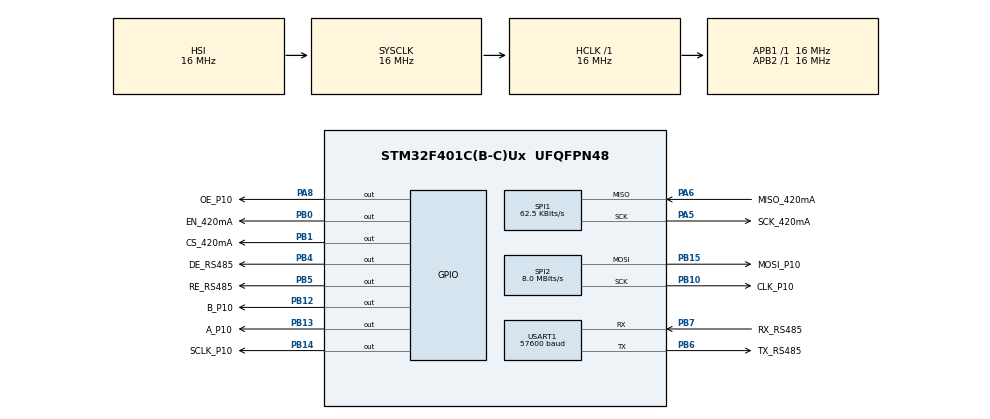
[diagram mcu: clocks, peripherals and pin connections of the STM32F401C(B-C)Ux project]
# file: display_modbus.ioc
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Mcu.Family=STM32F4
Mcu.Name=STM32F401C(B-C)Ux
Mcu.Package=UFQFPN48
NVIC.PriorityGroup=NVIC_PRIORITYGROUP_4
NVIC.TIM3_IRQn=true\:1\:0\:true\:false\:true\:true\:true\:true
NVIC.USART1_IRQn=true\:0\:0\:false\:false\:true\:true\:true\:true
PA13.Mode=Trace_Asynchronous_SW
PA13.Signal=SYS_JTMS-SWDIO
PA14.Mode=Trace_Asynchronous_SW
PA14.Signal=SYS_JTCK-SWCLK
PA5.GPIO_Label=SCK_420mA
PA5.Mode=RX_Only_Simplex_Unidirect_Master
PA5.Signal=SPI1_SCK
PA6.GPIO_Label=MISO_420mA
PA6.Mode=RX_Only_Simplex_Unidirect_Master
PA6.Signal=SPI1_MISO
PA8.GPIO_Label=OE_P10
PA8.Signal=GPIO_Output
PB0.GPIO_Label=EN_420mA
PB0.Signal=GPIO_Output
PB1.GPIO_Label=CS_420mA
PB1.Signal=GPIO_Output
PB10.GPIO_Label=CLK_P10
PB10.Mode=TX_Only_Simplex_Unidirect_Master
PB10.Signal=SPI2_SCK
PB12.GPIO_Label=B_P10
PB12.Signal=GPIO_Output
PB13.GPIO_Label=A_P10
PB13.Signal=GPIO_Output
PB14.GPIO_Label=SCLK_P10
PB14.Signal=GPIO_Output
PB15.GPIO_Label=MOSI_P10
PB15.Mode=TX_Only_Simplex_Unidirect_Master
PB15.Signal=SPI2_MOSI
PB3.Mode=Trace_Asynchronous_SW
PB3.Signal=SYS_JTDO-SWO
PB4.GPIO_Label=DE_RS485
PB4.Signal=GPIO_Output
PB5.GPIO_Label=RE_RS485
PB5.Signal=GPIO_Output
PB6.GPIO_Label=TX_RS485
PB6.Mode=Asynchronous
PB6.Signal=USART1_TX
PB7.GPIO_Label=RX_RS485
PB7.Mode=Asynchronous
PB7.Signal=USART1_RX
ProjectManager.HeapSize=0x200
ProjectManager.StackSize=0x400
ProjectManager.TargetToolchain=STM32CubeIDE
RCC.AHBFreq_Value=16000000
RCC.APB1Freq_Value=16000000
RCC.APB2Freq_Value=16000000
RCC.CortexFreq_Value=16000000
RCC.HSE_VALUE=25000000
RCC.HSI_VALUE=16000000
RCC.LSE_VALUE=32768
RCC.SYSCLKFreq_VALUE=16000000
RCC.VCOOutputFreq_Value=192000000
SPI1.BaudRatePrescaler=SPI_BAUDRATEPRESCALER_256
SPI1.CalculateBaudRate=62.5 KBits/s
SPI1.Direction=SPI_DIRECTION_2LINES_RXONLY
SPI1.Mode=SPI_MODE_MASTER
SPI1.VirtualType=VM_MASTER
SPI2.CalculateBaudRate=8.0 MBits/s
SPI2.Direction=SPI_DIRECTION_2LINES
SPI2.Mode=SPI_MODE_MASTER
SPI2.VirtualType=VM_MASTER
TIM3.Period=64
TIM3.Prescaler=1000
USART1.BaudRate=57600
USART1.VirtualMode=VM_ASYNC
VP_TIM3_VS_ClockSourceINT.Mode=Internal
board=custom

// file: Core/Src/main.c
/* USER CODE BEGIN Header */
/**
 ******************************************************************************
 * @file           : main.c
 * @brief          : Main program body
 ******************************************************************************
 * @attention
 *
 * Copyright (c) 2023 STMicroelectronics.
 * All rights reserved.
 *
 * This software is licensed under terms that can be found in the LICENSE file
 * in the root directory of this software component.
 * If no LICENSE file comes with this software, it is provided AS-IS.
 *
 ******************************************************************************
 * Versao 2.4: Implementação Modbus RTU as Slave (Henrique Xavier - jan/26)
 * Main Branch
 */
/* USER CODE END Header */
#include "main.h"

/* USER CODE BEGIN Includes */
#include "dmd.h"
#include "clk420ma_receiver.h"
#include "flash_sector.h"
#include "stdio.h"

// Modbus
#include "modbusSlave.h"

/* USER CODE END Includes */

/* USER CODE BEGIN PD */

// Definições display P10
#define DISPLAYS_ACROSS 2
#define DISPLAYS_DOWN 1
#define DISPLAY_X_OFFSET 3

// Definições serial
#define SERIAL_TIMEOUT 10000

// Definições de input pela serial
#define DISPLAY_CHANNEL 'C'
#define INPUT_MODE 'I'
#define TYPE_MODE 'T'
#define VOLTAGE 'V'
#define CURRENT 'A'
#define X_MIN 'x'
#define X_MAX 'X'
#define Y_MIN 'y'
#define Y_MAX 'Y'
#define DIGITAL 'D'
#define ANALOGIC 'A'
#define DECIMAL_PLACE 'P'
#define ACQUIRE_TENSION_VALUE 'W'
#define ACQUIRE_CURRENT_VALUE 'Z'
#define FLASH_CHECK 'K'
#define PROTOCOL 'R'
#define MODBUS 'M'
#define ASCII 'S'
#define BAUDRATE 'B'
#define UNIT_MEASURE 'U'

// Definições RS485
// #define BUFFERS_RX_SIZE 24
#define BUFFERS_RX_SIZE 48
#define DISPLAY_UPDATE_MS 10

// Definições 4-20mA
#define NUM_READINGS 10 // Size of media filter

/* USER CODE END PD */

SPI_HandleTypeDef hspi1;
SPI_HandleTypeDef hspi2;
UART_HandleTypeDef huart1;
TIM_HandleTypeDef htim3;

void SystemClock_Config(void);
static void MX_GPIO_Init(void);
static void MX_SPI1_Init(void);
static void MX_SPI2_Init(void);
static void MX_USART1_UART_Init(void);
static void MX_TIM3_Init(void);

/* USER CODE BEGIN 0 */

// Variaveis das configurações
char displayChannel = '1';
char inputMode = 'D';
char typeMode = 'A';
float yMin = 0.0f;
float xMax = 20.0f;
float xMin = 4.0f;
float yMax = 100.0f;
int decimalPlace = 1;
char protocol = MODBUS;
uint32_t baudRate = 57600;
char unitMeasure[6] = "t";
char msgConfigOn[15] = "CONFIG MODE ON";
char msgConfigOff[16] = "CONFIG MODE OFF";
char msgOk[3] = " Ok";

//Variaveis globais
uint8_t digitalStrSize;
uint32_t lastSerialInterrupt;
uint8_t displayIdle = 0;
uint8_t needUartReinit = 0;
uint8_t needProtocolSwitch = 0;

// Variaveis de controle ASCII
char inputString[BUFFERS_RX_SIZE];
uint8_t stringComplete = false;
uint8_t configMode = false;
uint8_t bufferRX[BUFFERS_RX_SIZE];
uint8_t bufferTX[BUFFERS_RX_SIZE];
int lastASCIIDrawLen = -1;

// Variaveis de controle - Analógica
uint8_t analogicStrSize;
float readings[NUM_READINGS]; // the readings from the analog input
int readIndex = 0;            // the index of the current reading
float total = 0.0f;           // the running total
float average = 0.0f;         // the average
float x, x_ant;

//Variaveis de controle MODBUS
uint8_t modbusWasIdle = 1;   // começa em idle
int lastModbusCasasDecimais = -1;
int lastDrawLen = -1;
uint8_t modbusDataValid = 0;

// Struct para salvar os dados na flash
typedef struct
{
  char check; // caracter para checar se tem algo salvo na Flash
  char displayChannel_char;
  char inputMode_char;
  char typeMode_char;
  char protocol_char;
  float xMin_f;
  float xMax_f;
  float yMin_f;
  float yMax_f;
  uint8_t dPlace_int;
  uint32_t baudRate_int;
  char unitMeasure[6];
} DataFlashStruct;

DataFlashStruct dataFlash;
uint8_t bfdataFlash[sizeof(DataFlashStruct)];

// Variaveis de inicialização
uint8_t fw_init = 1;
uint32_t count_init = 0;
const char *INIT = "HFN SENSORS v2.4"; // String de inicialização
const char *IDLE = "- - - - - -";      // String de repouso

// Funções Gerais

char *reverse(char *str, int len)
{
  int start = 0;
  int end = len - 1;
  while (start < end)
  {
    char temp = str[start];
    str[start] = str[end];
    str[end] = temp;
    start++;
    end--;
  }
  return str;
}

// Transformando float em string
void ftoa(float num, char *str, int decimalPlaces)
{
    int i = 0;

    /* Arredondamento correto */
    float rounding = 0.5f;
    for (int d = 0; d < decimalPlaces; d++)
        rounding /= 10.0f;

    num += rounding;

    int intPart = (int)num;
    float fracPart = num - intPart;

    /* Parte inteira */
    if (intPart == 0)
    {
        str[i++] = '0';
    }
    else
    {
        char temp[10];
        int j = 0;

        while (intPart > 0)
        {
            temp[j++] = (intPart % 10) + '0';
            intPart /= 10;
        }

        while (j--)
            str[i++] = temp[j];
    }

    /* Parte decimal */
    if (decimalPlaces > 0)
    {
        str[i++] = '.';

        for (int j = 0; j < decimalPlaces; j++)
        {
            fracPart *= 10.0f;
            int digit = (int)fracPart;
            str[i++] = digit + '0';
            fracPart -= digit;
        }
    }

    str[i] = '\0';
}

// Funcao para calculo tonelada
double mapValue(float x, float in_min, float in_max, float out_min, float out_max)
{
  float result = ((x - in_min) * (out_max - out_min) / (in_max - in_min) + out_min);
  return result;
}

// Interrupção Rx RS485
void HAL_UARTEx_RxEventCallback(UART_HandleTypeDef *huart, uint16_t Size)
{
  if (huart != &huart1) return;

  if (protocol == MODBUS)
  {
    /* ---------- DETECÇÃO ASCII EM MODO MODBUS ---------- */
    /* Critérios: conter "CONFIG" OU conter '\n' (linha ASCII) */
    uint8_t asciiDetected = 0;

    /* Verifica presença de '\n' */
    for (uint16_t i = 0; i < Size; i++)
    {
      if (RxData[i] == '\n')
      {
        asciiDetected = 1;
        break;
      }
    }

    if (asciiDetected)
    {
      /* Copia RxData para inputString (respeitando limite e garantindo '\0') */
      memset(inputString, 0, sizeof(inputString));
      uint16_t w = 0;
      for (uint16_t i = 0; i < Size && w < (BUFFERS_RX_SIZE - 1); i++)
      {
        if (RxData[i] == '\r') continue;     /* ignora CR */
        if (RxData[i] == '\n') break;        /* fim de linha ASCII */
        inputString[w++] = RxData[i];
      }
      inputString[w] = '\0';

      /* Sinaliza para o loop principal tratar o ASCII */
      lastSerialInterrupt = HAL_GetTick();
      stringComplete = true;

      /* Rearma a recepção e sai */
      goto restart_rx;
    }

    /* ---------- FLUXO MODBUS NORMAL ---------- */
    if (Size < 8) goto restart_rx;                        /* tamanho mínimo */
    if (RxData[0] != modbusSlaveID) goto restart_rx;      /* endereço */
    if (!modbusCRC_Check(RxData, Size)) goto restart_rx;  /* CRC */

    lastSerialInterrupt = HAL_GetTick();
    modbusDataValid = 1;

    switch (RxData[1])
    {
      case 0x03:
        readHoldingRegs();
        break;

      case 0x10:
        writeHoldingRegs();
        break;

      default:
        modbusException(ILLEGAL_FUNCTION);
        break;
    }
  }

  /* ---------- ASCII (protocolo == ASCII) ---------- */
  HAL_UARTEx_ReceiveToIdle_IT(&huart1, bufferRX, BUFFERS_RX_SIZE);
  memset(inputString, 0, sizeof(inputString));
  uint16_t w = 0;
  for (int i = 0; i < Size && w < (BUFFERS_RX_SIZE - 1); i++)
  {
    if (bufferRX[i] == '\n')
    {
      lastSerialInterrupt = HAL_GetTick();
      stringComplete = true;
      break;
    }
    if (bufferRX[i] == '\r') continue;
    inputString[w++] = bufferRX[i];
  }
  inputString[w] = '\0';

  restart_rx:
	if (huart1.RxState != HAL_UART_STATE_BUSY_RX)
	{
	  HAL_UARTEx_ReceiveToIdle_IT(&huart1, RxData, 256);
	}
      return;
}

// Função Tx RS485
void transmit_RS485(uint8_t *dataTx, uint16_t Size)
{
  HAL_GPIO_WritePin(DE_RS485_GPIO_Port, DE_RS485_Pin, GPIO_PIN_SET);
  HAL_GPIO_WritePin(RE_RS485_GPIO_Port, RE_RS485_Pin, GPIO_PIN_SET);

  HAL_UART_Transmit(&huart1, dataTx, Size, 200);

  HAL_GPIO_WritePin(DE_RS485_GPIO_Port, DE_RS485_Pin, GPIO_PIN_RESET);
  HAL_GPIO_WritePin(RE_RS485_GPIO_Port, RE_RS485_Pin, GPIO_PIN_RESET);

  if (protocol == MODBUS)
    HAL_UARTEx_ReceiveToIdle_IT(&huart1, RxData, 256);
  else
    HAL_UARTEx_ReceiveToIdle_IT(&huart1, bufferRX, BUFFERS_RX_SIZE);

}

// Interrupção SCAN P10
void HAL_TIM_PeriodElapsedCallback(TIM_HandleTypeDef *htim)
{
  if (fw_init == 1)
  {
    count_init += 1;
    if (count_init == 1400)
    {
      fw_init = 0;
      clearScreen(true);
      drawString(DISPLAY_X_OFFSET, 0, IDLE, strlen(IDLE), GRAPHICS_NORMAL);
    }
  }

  scanDisplayBySPI(&hspi2);
}

void RS485_ResetCommunication(void)
{
    // Aborta RX/TX pendentes
    HAL_UART_AbortReceive(&huart1);
    HAL_UART_AbortTransmit(&huart1);

    // Garante RS485 em modo recepção
    HAL_GPIO_WritePin(DE_RS485_GPIO_Port, DE_RS485_Pin, GPIO_PIN_RESET);
    HAL_GPIO_WritePin(RE_RS485_GPIO_Port, RE_RS485_Pin, GPIO_PIN_RESET);

    // Reset completo da UART
    HAL_UART_DeInit(&huart1);
    HAL_Delay(2);
    MX_USART1_UART_Init();

    // Limpa buffers
    memset(bufferRX, 0, sizeof(bufferRX));
    memset(RxData, 0, sizeof(RxData));
    memset(inputString, 0, sizeof(inputString));

    stringComplete = false;
    modbusDataValid = 0;

    // Rearma recepção
    if (protocol == MODBUS)
        HAL_UARTEx_ReceiveToIdle_IT(&huart1, RxData, 256);
    else
        HAL_UARTEx_ReceiveToIdle_IT(&huart1, bufferRX, BUFFERS_RX_SIZE);
}

/* USER CODE END 0 */

int main(void)
{

  /* MCU Configuration--------------------------------------------------------*/

  /* Reset of all peripherals, Initializes the Flash interface and the Systick. */
  HAL_Init();

  /* Configure the system clock */
  SystemClock_Config();

  /* Initialize all configured peripherals */
  MX_GPIO_Init();
  MX_SPI1_Init();
  MX_SPI2_Init();
  MX_TIM3_Init();
  /* USER CODE BEGIN 2 */

  // Inicializando 4-20mA
  init_clk420mA(EN_420mA_GPIO_Port, EN_420mA_Pin);

  // Inicializando o display P10
  HAL_TIM_Base_Start_IT(&htim3);
  setFont(Arial_Black_16_ISO_8859_1);
  DMD(DISPLAYS_ACROSS, DISPLAYS_DOWN, OE_P10_GPIO_Port, OE_P10_Pin, SCLK_P10_GPIO_Port, SCLK_P10_Pin,
      A_P10_GPIO_Port, A_P10_Pin, B_P10_GPIO_Port, B_P10_Pin);

  // inicializando o array de filtro
  for (int thisReading = 0; thisReading < NUM_READINGS; thisReading++)
  {
    readings[thisReading] = 0;
  }

  /* ===================== INICIALIZAÇÃO DOS DADOS DA FLASH ===================== */

  uint8_t needFlashUpdate = 0;

  /* Ponteiro direto para a struct gravada na Flash */
  DataFlashStruct *flashData = (DataFlashStruct *)ADDR_FLASH_SECTOR_4;

  /* ------------------ CASO FLASH VÁLIDA ------------------ */
  if (flashData->check == FLASH_CHECK)
  {
      /* Copia bruta da Flash para RAM */
      dataFlash = *flashData;

      /* -------- Display Channel -------- */
      displayChannel = dataFlash.displayChannel_char;
      if (displayChannel < '0' || displayChannel > '9')
      {
          displayChannel = '1';
          needFlashUpdate = 1;
      }
      modbusSlaveID = displayChannel - '0';

      /* -------- Input Mode -------- */
      inputMode = dataFlash.inputMode_char;
      if (inputMode != DIGITAL && inputMode != ANALOGIC)
      {
          inputMode = DIGITAL;
          needFlashUpdate = 1;
      }

      /* -------- Type Mode -------- */
      typeMode = dataFlash.typeMode_char;
      if (typeMode != CURRENT && typeMode != VOLTAGE)
      {
          typeMode = CURRENT;
          needFlashUpdate = 1;
      }

      /* -------- Protocol -------- */
      protocol = dataFlash.protocol_char;
      if (protocol != MODBUS && protocol != ASCII)
      {
          protocol = MODBUS;
          needFlashUpdate = 1;
      }

      /* -------- Limites X/Y -------- */
      xMin = dataFlash.xMin_f;
      xMax = dataFlash.xMax_f;
      yMin = dataFlash.yMin_f;
      yMax = dataFlash.yMax_f;

      if (xMin >= xMax)
      {
          xMin = 4.0f;
          xMax = 20.0f;
          needFlashUpdate = 1;
      }

      if (yMin >= yMax)
      {
          yMin = 0.0f;
          yMax = 100.0f;
          needFlashUpdate = 1;
      }

      /* -------- Casas Decimais -------- */
      decimalPlace = dataFlash.dPlace_int;
      if (decimalPlace > 4)
      {
          decimalPlace = 1;
          needFlashUpdate = 1;
      }

      /* -------- Baudrate -------- */
      baudRate = dataFlash.baudRate_int;
      switch (baudRate)
      {
          case 1200: case 2400: case 4800: case 9600:
          case 19200: case 38400: case 57600:
          case 115200: case 230400: case 460800:
          case 921600:
              break;
          default:
              baudRate = 57600;
              needFlashUpdate = 1;
              break;
      }

      /* -------- Unidade de Medida -------- */
      strncpy(unitMeasure, dataFlash.unitMeasure, sizeof(unitMeasure) - 1);
      unitMeasure[sizeof(unitMeasure) - 1] = '\0';

      if (strcmp(unitMeasure, "t")     != 0 &&
          strcmp(unitMeasure, "kN")    != 0 &&
          strcmp(unitMeasure, "N")     != 0 &&
          strcmp(unitMeasure, "kg")    != 0 &&
          strcmp(unitMeasure, "kgf")   != 0 &&
          strcmp(unitMeasure, "g")     != 0 &&
          strcmp(unitMeasure, "oz")    != 0 &&
          strcmp(unitMeasure, "lb")    != 0 &&
          strcmp(unitMeasure, "kg/s")  != 0 &&
          strcmp(unitMeasure, "t/min") != 0)
      {
          strcpy(unitMeasure, "t");
          needFlashUpdate = 1;
      }

      /* -------- Atualiza struct em RAM -------- */
      dataFlash.displayChannel_char = displayChannel;
      dataFlash.inputMode_char      = inputMode;
      dataFlash.typeMode_char       = typeMode;
      dataFlash.protocol_char       = protocol;
      dataFlash.xMin_f              = xMin;
      dataFlash.xMax_f              = xMax;
      dataFlash.yMin_f              = yMin;
      dataFlash.yMax_f              = yMax;
      dataFlash.dPlace_int          = decimalPlace;
      dataFlash.baudRate_int        = baudRate;
      strcpy(dataFlash.unitMeasure, unitMeasure);

      /* -------- Regrava Flash se houve correção -------- */
      if (needFlashUpdate)
      {
          memcpy(bfdataFlash, &dataFlash, sizeof(DataFlashStruct));
          Flash_Write_Data(ADDR_FLASH_SECTOR_4,
                           (uint32_t *)bfdataFlash,
                           sizeof(DataFlashStruct));
      }
  }
  /* ------------------ PRIMEIRA INICIALIZAÇÃO ------------------ */
  else
  {
      dataFlash.check               = FLASH_CHECK;
      dataFlash.displayChannel_char = displayChannel;
      dataFlash.inputMode_char      = inputMode;
      dataFlash.typeMode_char       = typeMode;
      dataFlash.protocol_char       = protocol;
      dataFlash.xMin_f              = xMin;
      dataFlash.xMax_f              = xMax;
      dataFlash.yMin_f              = yMin;
      dataFlash.yMax_f              = yMax;
      dataFlash.dPlace_int          = decimalPlace;
      dataFlash.baudRate_int        = baudRate;

      strcpy(dataFlash.unitMeasure, unitMeasure);

      memcpy(bfdataFlash, &dataFlash, sizeof(DataFlashStruct));
      Flash_Write_Data(ADDR_FLASH_SECTOR_4,
                       (uint32_t *)bfdataFlash,
                       sizeof(DataFlashStruct));
  }

  // Inicializando RS485
  MX_USART1_UART_Init();

  if (protocol == MODBUS)
  {
    HAL_UARTEx_ReceiveToIdle_IT(&huart1, RxData, 256);
  }
  else
  {
    HAL_UARTEx_ReceiveToIdle_IT(&huart1, bufferRX, BUFFERS_RX_SIZE);
  }

  // Variaveis display p10
  uint32_t start = HAL_GetTick();
  uint32_t timer = start;

  drawMarquee(INIT, strlen(INIT), (32 * DISPLAYS_ACROSS) - 1, 0);

  /* USER CODE END 2 */

  /* Infinite loop */
  while (1)
  {
	  if (!configMode && (HAL_GetTick() - lastSerialInterrupt) > SERIAL_TIMEOUT)
	  {
	      RS485_ResetCommunication();
	      lastSerialInterrupt = HAL_GetTick();
	  }
    /* USER CODE BEGIN 3 */

    if (fw_init)
    {
      if ((timer + 30) < HAL_GetTick())
      {
        stepMarquee(-1, 0);
        timer = HAL_GetTick();
      }
    }
    else
    {

      /* ================= TRATAMENTO DO IDDLE ================= */
      uint32_t currentTime = HAL_GetTick();
      if (currentTime - lastSerialInterrupt >= SERIAL_TIMEOUT &&
          inputMode == DIGITAL)
      {
          if (!displayIdle)
          {
              clearScreen(true);
              drawString(DISPLAY_X_OFFSET, 0, IDLE, strlen(IDLE), GRAPHICS_NORMAL);
              displayIdle = 1;
              modbusWasIdle = 1;
          }
      }
      else
      {
          displayIdle = 0;
      }

      /* ================= ASCII / CONFIG ================= */
      if (stringComplete == true)
      {
          /* -------- CONFIG MODE -------- */
          if (strstr(inputString, "CONFIG") != NULL)
          {
              if (inputString[7] == '1')
              {
                  configMode = true;
                  drawString(DISPLAY_X_OFFSET, 0, IDLE, strlen(IDLE), GRAPHICS_NORMAL);
                  transmit_RS485((uint8_t *)msgConfigOn, strlen(msgConfigOn));
              }
              else
              {
                  configMode = false;
                  transmit_RS485((uint8_t *)msgConfigOff, strlen(msgConfigOff));
              }
          }

          /* -------- ASCII DISPLAY (robusto, igual MODBUS) -------- */
          if (!configMode &&
              inputMode == DIGITAL &&
              protocol == ASCII &&
              displayIdle == 0)
          {
              if (inputString[0] == displayChannel && inputString[1] == '=')
              {
                  float valueFloat;
                  char tempString[20];

                  /* Converte string para float
                     aceita "20.2" ou "20,2" */
                  char valueStr[16];
                  strncpy(valueStr, &inputString[2], sizeof(valueStr) - 1);
                  valueStr[sizeof(valueStr) - 1] = '\0';

                  /* troca ',' por '.' */
                  for (int i = 0; i < strlen(valueStr); i++)
                  {
                      if (valueStr[i] == ',')
                          valueStr[i] = '.';
                  }

                  valueFloat = atof(valueStr);

                  /* Limpa ao sair do IDLE */
                  if (modbusWasIdle)
                  {
                      clearScreen(true);
                      modbusWasIdle = 0;
                      lastASCIIDrawLen = -1;
                  }

                  /* Monta string numérica */
                  ftoa(valueFloat, tempString, decimalPlace);

                  int len = strlen(tempString);

                  /* Limpa se tamanho mudou */
                  if (len != lastASCIIDrawLen)
                  {
                      clearScreen(true);
                      lastASCIIDrawLen = len;
                  }

                  /* Acrescenta unidade */
                  for (int u = 0; u < strlen(unitMeasure); u++)
                      tempString[len + u] = unitMeasure[u];

                  tempString[len + strlen(unitMeasure)] = '\0';

                  int displayLen = len + strlen(unitMeasure);

                  drawString(DISPLAY_X_OFFSET, 0,
                             tempString,
                             displayLen,
                             GRAPHICS_NORMAL);
              }
          }

          /* -------- CONFIG GET / SET -------- */
          if (configMode)
          {
              /* ================= GET ================= */
              if (strstr(inputString, "GET") != NULL)
              {
                  memset(bufferTX, 0, sizeof(bufferTX));

                  switch (inputString[4])
                  {
                      case DISPLAY_CHANNEL:
                          bufferTX[0] = displayChannel;
                          transmit_RS485(bufferTX, 1);
                          break;

                      case INPUT_MODE:
                          bufferTX[0] = inputMode;
                          transmit_RS485(bufferTX, 1);
                          break;

                      case TYPE_MODE:
                          bufferTX[0] = typeMode;
                          transmit_RS485(bufferTX, 1);
                          break;

                      case X_MIN:
                          ftoa(xMin, (char *)bufferTX, 3);
                          transmit_RS485(bufferTX, strlen((char *)bufferTX));
                          break;

                      case X_MAX:
                          ftoa(xMax, (char *)bufferTX, 3);
                          transmit_RS485(bufferTX, strlen((char *)bufferTX));
                          break;

                      case Y_MIN:
                          ftoa(yMin, (char *)bufferTX, 3);
                          transmit_RS485(bufferTX, strlen((char *)bufferTX));
                          break;

                      case Y_MAX:
                          ftoa(yMax, (char *)bufferTX, 3);
                          transmit_RS485(bufferTX, strlen((char *)bufferTX));
                          break;

                      case DECIMAL_PLACE:
                          sprintf((char *)bufferTX, "%d", decimalPlace);
                          transmit_RS485(bufferTX, strlen((char *)bufferTX));
                          break;

                      case ACQUIRE_CURRENT_VALUE:
                          ftoa(read_clk420mA(&hspi1,
                                             CS_420mA_GPIO_Port, CS_420mA_Pin),
                               (char *)bufferTX, 3);
                          transmit_RS485(bufferTX, strlen((char *)bufferTX));
                          break;

                      case ACQUIRE_TENSION_VALUE:
                          ftoa(read_clk420mA_voltage(&hspi1,
                                             CS_420mA_GPIO_Port, CS_420mA_Pin),
                               (char *)bufferTX, 3);
                          transmit_RS485(bufferTX, strlen((char *)bufferTX));
                          break;

                      case PROTOCOL:
                          bufferTX[0] = protocol;
                          transmit_RS485(bufferTX, 1);
                          break;

                      case BAUDRATE:
                          sprintf((char *)bufferTX, "%lu", baudRate);
                          transmit_RS485(bufferTX, strlen((char *)bufferTX));
                          break;

                      case UNIT_MEASURE:
                          transmit_RS485((uint8_t *)unitMeasure, strlen(unitMeasure));
                          break;
                  }
              }

              /* ================= SET ================= */
              else if (strstr(inputString, "SET") != NULL)
              {
                  switch (inputString[4])
                  {
                      case DISPLAY_CHANNEL:
                          displayChannel = inputString[6];
                          if (displayChannel < '0' || displayChannel > '9')
                              displayChannel = '1';

                          modbusSlaveID = displayChannel - '0';
                          dataFlash.displayChannel_char = displayChannel;
                          lastSerialInterrupt = HAL_GetTick();
                          break;

                      case INPUT_MODE:
                          inputMode = inputString[6];
                          if (inputMode != DIGITAL && inputMode != ANALOGIC)
                              inputMode = DIGITAL;

                          dataFlash.inputMode_char = inputMode;
                          lastSerialInterrupt = HAL_GetTick();
                          break;

                      case TYPE_MODE:
                          typeMode = inputString[6];
                          if (typeMode != CURRENT && typeMode != VOLTAGE)
                              typeMode = CURRENT;

                          dataFlash.typeMode_char = typeMode;
                          lastSerialInterrupt = HAL_GetTick();
                          break;

                      case X_MIN:
                          xMin = atof(&inputString[6]);
                          dataFlash.xMin_f = xMin;
                          lastSerialInterrupt = HAL_GetTick();
                          break;

                      case X_MAX:
                          xMax = atof(&inputString[6]);
                          dataFlash.xMax_f = xMax;
                          lastSerialInterrupt = HAL_GetTick();
                          break;

                      case Y_MIN:
                          yMin = atof(&inputString[6]);
                          dataFlash.yMin_f = yMin;
                          lastSerialInterrupt = HAL_GetTick();
                          break;

                      case Y_MAX:
                          yMax = atof(&inputString[6]);
                          dataFlash.yMax_f = yMax;
                          lastSerialInterrupt = HAL_GetTick();
                          break;

                      case DECIMAL_PLACE:
                          decimalPlace = (uint8_t)(inputString[6] - '0');
                          if (decimalPlace > 4)
                              decimalPlace = 1;

                          dataFlash.dPlace_int = decimalPlace;
                          lastSerialInterrupt = HAL_GetTick();
                          break;

                      case PROTOCOL:
                          if (inputString[6] == MODBUS || inputString[6] == ASCII)
                              protocol = inputString[6];
                          else
                              protocol = MODBUS;

                          dataFlash.protocol_char = protocol;
                          needProtocolSwitch = 1;
                          lastSerialInterrupt = HAL_GetTick();
                          break;

                      case BAUDRATE:
                          baudRate = (uint32_t)atoi(&inputString[6]);
                          switch (baudRate)
                          {
                              case 1200: case 2400: case 4800: case 9600:
                              case 19200: case 38400: case 57600:
                              case 115200: case 230400: case 460800:
                              case 921600:
                                  break;
                              default:
                                  baudRate = 57600;
                                  break;
                          }

                          dataFlash.baudRate_int = baudRate;
                          needUartReinit = 1;
                          lastSerialInterrupt = HAL_GetTick();
                          break;

                      case UNIT_MEASURE:
                          memset(unitMeasure, 0, sizeof(unitMeasure));
                          strncpy(unitMeasure, &inputString[6], sizeof(unitMeasure) - 1);

                          if (strcmp(unitMeasure, "t")     != 0 &&
                              strcmp(unitMeasure, "kN")    != 0 &&
                              strcmp(unitMeasure, "N")     != 0 &&
                              strcmp(unitMeasure, "kg")    != 0 &&
                              strcmp(unitMeasure, "kgf")   != 0 &&
                              strcmp(unitMeasure, "g")     != 0 &&
                              strcmp(unitMeasure, "oz")    != 0 &&
                              strcmp(unitMeasure, "lb")    != 0 &&
                              strcmp(unitMeasure, "kg/s")  != 0 &&
                              strcmp(unitMeasure, "t/min") != 0)
                          {
                              strcpy(unitMeasure, "t");
                          }

                          strcpy(dataFlash.unitMeasure, unitMeasure);
                          lastSerialInterrupt = HAL_GetTick();
                          break;
                  }

                  /* ACK */
                  bufferTX[0] = inputString[4];
                  transmit_RS485(bufferTX, 1);
                  transmit_RS485((uint8_t *)msgOk, strlen(msgOk));
                  HAL_Delay(10); // garante envio completo

                  /* Salva na Flash */
                  dataFlash.check = FLASH_CHECK;
                  memcpy(bfdataFlash, &dataFlash, sizeof(DataFlashStruct));
                  Flash_Write_Data(ADDR_FLASH_SECTOR_4,
                                   (uint32_t *)bfdataFlash,
                                   sizeof(DataFlashStruct));
              }
          }

          /* Limpeza */
          memset(inputString, 0, sizeof(inputString));
          stringComplete = false;

          if ((needUartReinit || needProtocolSwitch) && !configMode)
          {
              HAL_UART_DeInit(&huart1);
              MX_USART1_UART_Init();

              if (protocol == MODBUS)
                  HAL_UARTEx_ReceiveToIdle_IT(&huart1, RxData, 256);
              else
                  HAL_UARTEx_ReceiveToIdle_IT(&huart1, bufferRX, BUFFERS_RX_SIZE);

              needUartReinit = 0;
              needProtocolSwitch = 0;
          }

      /* ================= MODBUS DISPLAY ================= */
      if (!configMode &&
          inputMode == DIGITAL &&
          protocol == MODBUS &&
          displayIdle == 0 &&
		  modbusDataValid)
      {
          float valueFloat = modbus_u16_to_float32_be(
                                  Holding_Registers_Database[2],
                                  Holding_Registers_Database[3]);

          int modbusCasasDecimais = (int)Holding_Registers_Database[1];

          /* Limpa ao sair do IDLE */
          if (modbusWasIdle)
          {
              clearScreen(true);
              modbusWasIdle = 0;
              lastDrawLen = -1;
              lastModbusCasasDecimais = -1;
          }

          /* Limpa ao mudar casas decimais */
          if (modbusCasasDecimais != lastModbusCasasDecimais)
          {
              clearScreen(true);
              lastModbusCasasDecimais = modbusCasasDecimais;
              lastDrawLen = -1;
          }

          if ((timer + DISPLAY_UPDATE_MS) < HAL_GetTick())
          {
              char tempString[12];

              /* Monta string */
              ftoa(valueFloat, tempString, modbusCasasDecimais);

              int len = strlen(tempString);

              /* Limpa se o tamanho mudou */
              if (len != lastDrawLen)
              {
                  clearScreen(true);
                  lastDrawLen = len;
              }

              /* Acrescenta unidade */
              for (int u = 0; u < strlen(unitMeasure); u++)
                  tempString[len + u] = unitMeasure[u];
              tempString[len + strlen(unitMeasure)] = '\0';

              int displayLen = len + strlen(unitMeasure);
              drawString(DISPLAY_X_OFFSET, 0, tempString, displayLen, GRAPHICS_NORMAL);

              timer = HAL_GetTick();
          }
      }

      // MODO ANALOGICO
      if (!configMode)
      {
        if (inputMode == ANALOGIC)
        {

          if (typeMode == CURRENT)
          { // CORRENTE
            x = read_clk420mA(&hspi1, CS_420mA_GPIO_Port, CS_420mA_Pin);
            if (x == 255 || x == 0)
            {
              // erro de leitura
              x = x_ant;
            }
            else
            {
              x_ant = x;
            }
          }
          else
          { // TENSAO
            x = read_clk420mA_voltage(&hspi1, CS_420mA_GPIO_Port, CS_420mA_Pin);
          }
          float value = mapValue(x, xMin, xMax, yMin, yMax);

          // Aplicando a média
          total = total - readings[readIndex];
          readings[readIndex] = value;
          total = total + readings[readIndex];
          readIndex = readIndex + 1;
          if (readIndex >= NUM_READINGS)
          {
            readIndex = 0;
          }

          value = total / NUM_READINGS;

          if ((timer + 2000) < HAL_GetTick())
          {

            if (value < 10)
            {
              analogicStrSize = 2 + decimalPlace;
            }
            else if (value < 100)
            {
              analogicStrSize = 3 + decimalPlace;
            }
            else if (value < 1000)
            {
              analogicStrSize = 4 + decimalPlace;
            }
            else
            {
              analogicStrSize = 5 + decimalPlace;
            }

            char tempString[16];
            memset(tempString, ' ', sizeof(tempString));
            ftoa(value, tempString, decimalPlace);

            /* acrescenta unidade */
            for (int u = 0; u < strlen(unitMeasure); u++)
                tempString[analogicStrSize + u] = unitMeasure[u];

            drawString(DISPLAY_X_OFFSET, 0, tempString, sizeof(tempString), GRAPHICS_NORMAL);
            timer = HAL_GetTick();
          }
        }
      }

      if (protocol == MODBUS)
      {
          HAL_UARTEx_ReceiveToIdle_IT(&huart1, RxData, 256);
      }
      else
      {
          HAL_UARTEx_ReceiveToIdle_IT(&huart1, bufferRX, BUFFERS_RX_SIZE);
      }

      }
    }
  }
  /* USER CODE END 3 */
}

void SystemClock_Config(void)
{
  RCC_OscInitTypeDef RCC_OscInitStruct = {0};
  RCC_ClkInitTypeDef RCC_ClkInitStruct = {0};

  /** Configure the main internal regulator output voltage
  */
  __HAL_RCC_PWR_CLK_ENABLE();
  __HAL_PWR_VOLTAGESCALING_CONFIG(PWR_REGULATOR_VOLTAGE_SCALE2);

  /** Initializes the RCC Oscillators according to the specified parameters
  * in the RCC_OscInitTypeDef structure.
  */
  RCC_OscInitStruct.OscillatorType = RCC_OSCILLATORTYPE_HSI;
  RCC_OscInitStruct.HSIState = RCC_HSI_ON;
  RCC_OscInitStruct.HSICalibrationValue = RCC_HSICALIBRATION_DEFAULT;
  RCC_OscInitStruct.PLL.PLLState = RCC_PLL_NONE;
  if (HAL_RCC_OscConfig(&RCC_OscInitStruct) != HAL_OK)
  {
    Error_Handler();
  }

  /** Initializes the CPU, AHB and APB buses clocks
  */
  RCC_ClkInitStruct.ClockType = RCC_CLOCKTYPE_HCLK|RCC_CLOCKTYPE_SYSCLK
                              |RCC_CLOCKTYPE_PCLK1|RCC_CLOCKTYPE_PCLK2;
  RCC_ClkInitStruct.SYSCLKSource = RCC_SYSCLKSOURCE_HSI;
  RCC_ClkInitStruct.AHBCLKDivider = RCC_SYSCLK_DIV1;
  RCC_ClkInitStruct.APB1CLKDivider = RCC_HCLK_DIV1;
  RCC_ClkInitStruct.APB2CLKDivider = RCC_HCLK_DIV1;

  if (HAL_RCC_ClockConfig(&RCC_ClkInitStruct, FLASH_LATENCY_0) != HAL_OK)
  {
    Error_Handler();
  }
}

static void MX_SPI1_Init(void)
{

  /* SPI1 parameter configuration*/
  hspi1.Instance = SPI1;
  hspi1.Init.Mode = SPI_MODE_MASTER;
  hspi1.Init.Direction = SPI_DIRECTION_2LINES_RXONLY;
  hspi1.Init.DataSize = SPI_DATASIZE_8BIT;
  hspi1.Init.CLKPolarity = SPI_POLARITY_LOW;
  hspi1.Init.CLKPhase = SPI_PHASE_1EDGE;
  hspi1.Init.NSS = SPI_NSS_SOFT;
  hspi1.Init.BaudRatePrescaler = SPI_BAUDRATEPRESCALER_256;
  hspi1.Init.FirstBit = SPI_FIRSTBIT_MSB;
  hspi1.Init.TIMode = SPI_TIMODE_DISABLE;
  hspi1.Init.CRCCalculation = SPI_CRCCALCULATION_DISABLE;
  hspi1.Init.CRCPolynomial = 10;
  if (HAL_SPI_Init(&hspi1) != HAL_OK)
  {
    Error_Handler();
  }

}

static void MX_SPI2_Init(void)
{

  /* SPI2 parameter configuration*/
  hspi2.Instance = SPI2;
  hspi2.Init.Mode = SPI_MODE_MASTER;
  hspi2.Init.Direction = SPI_DIRECTION_2LINES;
  hspi2.Init.DataSize = SPI_DATASIZE_8BIT;
  hspi2.Init.CLKPolarity = SPI_POLARITY_LOW;
  hspi2.Init.CLKPhase = SPI_PHASE_1EDGE;
  hspi2.Init.NSS = SPI_NSS_SOFT;
  hspi2.Init.BaudRatePrescaler = SPI_BAUDRATEPRESCALER_2;
  hspi2.Init.FirstBit = SPI_FIRSTBIT_MSB;
  hspi2.Init.TIMode = SPI_TIMODE_DISABLE;
  hspi2.Init.CRCCalculation = SPI_CRCCALCULATION_DISABLE;
  hspi2.Init.CRCPolynomial = 10;
  if (HAL_SPI_Init(&hspi2) != HAL_OK)
  {
    Error_Handler();
  }

}

static void MX_TIM3_Init(void)
{

  TIM_ClockConfigTypeDef sClockSourceConfig = {0};
  TIM_MasterConfigTypeDef sMasterConfig = {0};

  htim3.Instance = TIM3;
  htim3.Init.Prescaler = 1000;
  htim3.Init.CounterMode = TIM_COUNTERMODE_UP;
  htim3.Init.Period = 64;
  htim3.Init.ClockDivision = TIM_CLOCKDIVISION_DIV1;
  htim3.Init.AutoReloadPreload = TIM_AUTORELOAD_PRELOAD_DISABLE;
  if (HAL_TIM_Base_Init(&htim3) != HAL_OK)
  {
    Error_Handler();
  }
  sClockSourceConfig.ClockSource = TIM_CLOCKSOURCE_INTERNAL;
  if (HAL_TIM_ConfigClockSource(&htim3, &sClockSourceConfig) != HAL_OK)
  {
    Error_Handler();
  }
  sMasterConfig.MasterOutputTrigger = TIM_TRGO_RESET;
  sMasterConfig.MasterSlaveMode = TIM_MASTERSLAVEMODE_DISABLE;
  if (HAL_TIMEx_MasterConfigSynchronization(&htim3, &sMasterConfig) != HAL_OK)
  {
    Error_Handler();
  }

}

static void MX_USART1_UART_Init(void)
{

  huart1.Instance = USART1;
  huart1.Init.BaudRate = baudRate;
  huart1.Init.WordLength = UART_WORDLENGTH_8B;
  huart1.Init.StopBits = UART_STOPBITS_1;
  huart1.Init.Parity = UART_PARITY_NONE;
  huart1.Init.Mode = UART_MODE_TX_RX;
  huart1.Init.HwFlowCtl = UART_HWCONTROL_NONE;
  huart1.Init.OverSampling = UART_OVERSAMPLING_16;
  if (HAL_UART_Init(&huart1) != HAL_OK)
  {
    Error_Handler();
  }

}

static void MX_GPIO_Init(void)
{
  GPIO_InitTypeDef GPIO_InitStruct = {0};

  /* GPIO Ports Clock Enable */
  __HAL_RCC_GPIOA_CLK_ENABLE();
  __HAL_RCC_GPIOB_CLK_ENABLE();

  /*Configure GPIO pin Output Level */
  HAL_GPIO_WritePin(GPIOB, EN_420mA_Pin|CS_420mA_Pin|B_P10_Pin|A_P10_Pin
                          |SCLK_P10_Pin|DE_RS485_Pin|RE_RS485_Pin, GPIO_PIN_RESET);

  /*Configure GPIO pin Output Level */
  HAL_GPIO_WritePin(OE_P10_GPIO_Port, OE_P10_Pin, GPIO_PIN_RESET);

  /*Configure GPIO pins : EN_420mA_Pin CS_420mA_Pin B_P10_Pin A_P10_Pin
                           SCLK_P10_Pin DE_RS485_Pin RE_RS485_Pin */
  GPIO_InitStruct.Pin = EN_420mA_Pin|CS_420mA_Pin|B_P10_Pin|A_P10_Pin
                          |SCLK_P10_Pin|DE_RS485_Pin|RE_RS485_Pin;
  GPIO_InitStruct.Mode = GPIO_MODE_OUTPUT_PP;
  GPIO_InitStruct.Pull = GPIO_NOPULL;
  GPIO_InitStruct.Speed = GPIO_SPEED_FREQ_LOW;
  HAL_GPIO_Init(GPIOB, &GPIO_InitStruct);

  /*Configure GPIO pin : OE_P10_Pin */
  GPIO_InitStruct.Pin = OE_P10_Pin;
  GPIO_InitStruct.Mode = GPIO_MODE_OUTPUT_PP;
  GPIO_InitStruct.Pull = GPIO_NOPULL;
  GPIO_InitStruct.Speed = GPIO_SPEED_FREQ_LOW;
  HAL_GPIO_Init(OE_P10_GPIO_Port, &GPIO_InitStruct);

}

void Error_Handler(void)
{
  __disable_irq();
  while (1)
  {
  }
}
